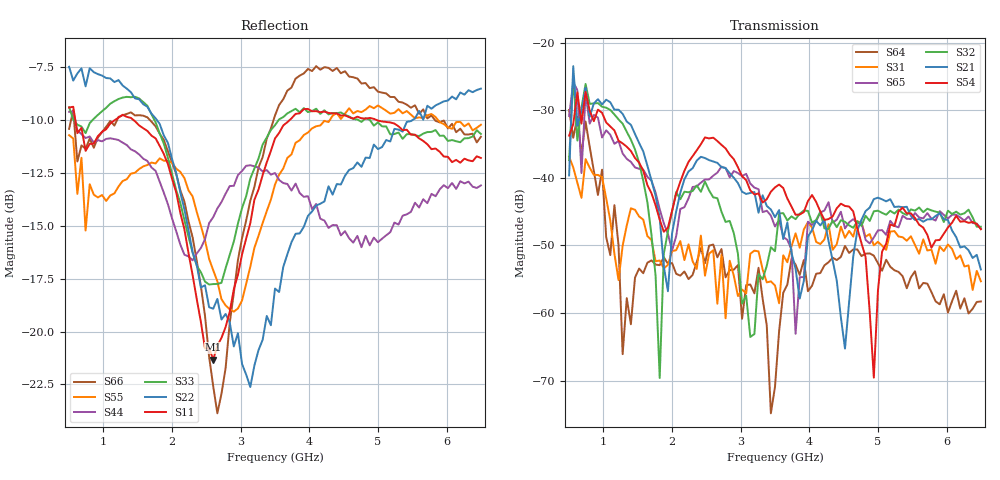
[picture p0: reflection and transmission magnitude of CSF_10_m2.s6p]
!Keysight Technologies,M9804A,MY58100912,A.14.10.03
!Date: Thursday, April 27, 2023 10:28:33
!Correction: S11(C  6-Port  )
!S12(C  6-Port  )
!S13(C  6-Port  )
!S14(C  6-Port  )
!S15(C  6-Port  )
!S16(C  6-Port  )
!S21(C  6-Port  )
!S22(C  6-Port  )
!S23(C  6-Port  )
!S24(C  6-Port  )
!S25(C  6-Port  )
!S26(C  6-Port  )
!S31(C  6-Port  )
!S32(C  6-Port  )
!S33(C  6-Port  )
!S34(C  6-Port  )
!S35(C  6-Port  )
!S36(C  6-Port  )
!S41(C  6-Port  )
!S42(C  6-Port  )
!S43(C  6-Port  )
!S44(C  6-Port  )
!S45(C  6-Port  )
!S46(C  6-Port  )
!S51(C  6-Port  )
!S52(C  6-Port  )
!S53(C  6-Port  )
!S54(C  6-Port  )
!S55(C  6-Port  )
!S56(C  6-Port  )
!S61(C  6-Port  )
!S62(C  6-Port  )
!S63(C  6-Port  )
!S64(C  6-Port  )
!S65(C  6-Port  )
!S66(C  6-Port  )
!S6P File: Measurement: :
# Hz S  RI  R 50
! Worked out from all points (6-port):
!   101 points, 500 MHz to 6.5 GHz, reference 50 ohm
!   strongest paths, dB at 500 MHz, 2 GHz, 3.5 GHz, 5 GHz, 6.5 GHz:
!     S54: -33.7, -44.9, -41.4, -56.7, -47.6
!     S21: -39.6, -48.2, -45.8, -42.9, -53.6
!     S32: -37.4, -45.0, -50.8, -44.9, -47.2
!     S65: -30.9, -50.7, -47.2, -47.8, -47.5
!     S31: -36.9, -50.8, -55.9, -49.5, -55.3
!     S64: -29.9, -52.6, -70.9, -52.6, -58.3
!   lowest |S11| = -21.3 dB at 2.6 GHz (marker M1), VSWR 1.19, Z = 42.4 + j2.23 ohm
!   |S11| at or under -10 dB: 590.1 MHz to 1.168 GHz (577.5 MHz wide, 65.7 % of centre); 1.438 GHz to 3.714 GHz (2.276 GHz wide, 88.3 % of centre); 4.98 GHz to end of sweep
